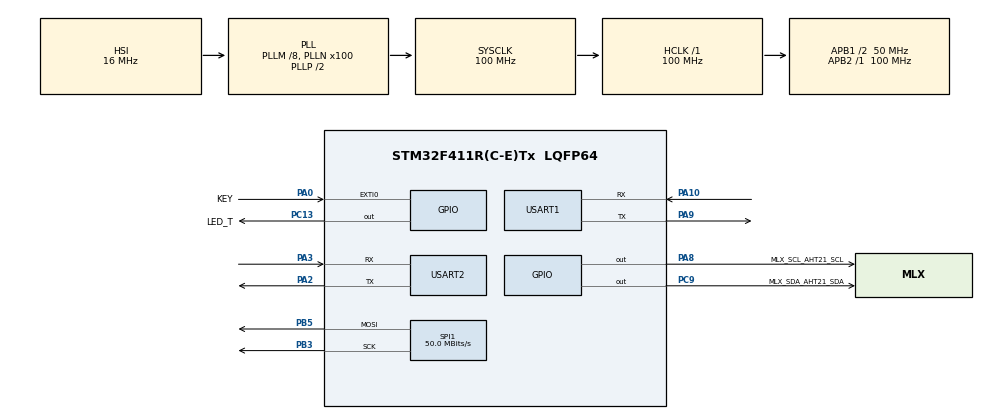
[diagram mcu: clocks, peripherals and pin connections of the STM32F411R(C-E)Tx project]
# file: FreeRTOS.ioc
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Dma.Request0=SPI1_TX
Dma.SPI1_TX.0.Direction=DMA_MEMORY_TO_PERIPH
Dma.SPI1_TX.0.FIFOMode=DMA_FIFOMODE_DISABLE
Dma.SPI1_TX.0.Instance=DMA2_Stream2
Dma.SPI1_TX.0.MemDataAlignment=DMA_MDATAALIGN_BYTE
Dma.SPI1_TX.0.MemInc=DMA_MINC_ENABLE
Dma.SPI1_TX.0.Mode=DMA_NORMAL
Dma.SPI1_TX.0.PeriphDataAlignment=DMA_PDATAALIGN_BYTE
Dma.SPI1_TX.0.PeriphInc=DMA_PINC_DISABLE
Dma.SPI1_TX.0.Priority=DMA_PRIORITY_LOW
FREERTOS.Tasks01=defaultTask,24,128,StartDefaultTask,Default,NULL,Dynamic,NULL,NULL
Mcu.Family=STM32F4
Mcu.Name=STM32F411R(C-E)Tx
Mcu.Package=LQFP64
NVIC.DMA2_Stream2_IRQn=true\:5\:0\:false\:false\:true\:true\:false\:true\:true
NVIC.EXTI0_IRQn=true\:5\:0\:false\:false\:true\:true\:true\:true\:true
NVIC.PriorityGroup=NVIC_PRIORITYGROUP_4
NVIC.TIM1_TRG_COM_TIM11_IRQn=true\:15\:0\:false\:false\:true\:false\:false\:true\:true
NVIC.TimeBase=TIM1_TRG_COM_TIM11_IRQn
NVIC.TimeBaseIP=TIM11
NVIC.USART1_IRQn=true\:5\:0\:false\:false\:true\:true\:true\:true\:true
NVIC.USART2_IRQn=true\:5\:0\:false\:false\:true\:true\:true\:true\:true
PA0-WKUP.GPIO_Label=KEY
PA0-WKUP.GPIO_PuPd=GPIO_PULLUP
PA0-WKUP.Signal=GPXTI0
PA10.Mode=Asynchronous
PA10.Signal=USART1_RX
PA2.Mode=Asynchronous
PA2.Signal=USART2_TX
PA3.Mode=Asynchronous
PA3.Signal=USART2_RX
PA8.GPIO_Label=MLX_SCL_AHT21_SCL
PA8.Signal=GPIO_Output
PC9.GPIO_Label=MLX_SDA_AHT21_SDA
PC9.Signal=GPIO_Output
PA13.Mode=Serial_Wire
PA13.Signal=SYS_JTMS-SWDIO
PA14.Mode=Serial_Wire
PA14.Signal=SYS_JTCK-SWCLK
PA9.Mode=Asynchronous
PA9.Signal=USART1_TX
PB3.Mode=TX_Only_Simplex_Unidirect_Master
PB3.Signal=SPI1_SCK
PB5.Mode=TX_Only_Simplex_Unidirect_Master
PB5.Signal=SPI1_MOSI
PC13-ANTI_TAMP.GPIO_Label=LED_T
PC13-ANTI_TAMP.Signal=GPIO_Output
PC14-OSC32_IN.Mode=LSE-External-Oscillator
PC14-OSC32_IN.Signal=RCC_OSC32_IN
PC15-OSC32_OUT.Mode=LSE-External-Oscillator
PC15-OSC32_OUT.Signal=RCC_OSC32_OUT
PH0\ -\ OSC_IN.Mode=HSE-External-Oscillator
PH0\ -\ OSC_IN.Signal=RCC_OSC_IN
PH1\ -\ OSC_OUT.Mode=HSE-External-Oscillator
PH1\ -\ OSC_OUT.Signal=RCC_OSC_OUT
ProjectManager.HeapSize=0x200
ProjectManager.StackSize=0x400
ProjectManager.TargetToolchain=MDK-ARM V5.32
RCC.48MHZClocksFreq_Value=50000000
RCC.AHBFreq_Value=100000000
RCC.APB1CLKDivider=RCC_HCLK_DIV2
RCC.APB1Freq_Value=50000000
RCC.APB1TimFreq_Value=100000000
RCC.APB2Freq_Value=100000000
RCC.APB2TimFreq_Value=100000000
RCC.CortexFreq_Value=100000000
RCC.HCLKFreq_Value=100000000
RCC.HSE_VALUE=25000000
RCC.HSI_VALUE=16000000
RCC.PLLM=8
RCC.PLLN=100
RCC.SYSCLKFreq_VALUE=100000000
RCC.SYSCLKSource=RCC_SYSCLKSOURCE_PLLCLK
RCC.VCOOutputFreq_Value=200000000
SPI1.CalculateBaudRate=50.0 MBits/s
SPI1.Direction=SPI_DIRECTION_2LINES
SPI1.Mode=SPI_MODE_MASTER
SPI1.VirtualType=VM_MASTER
USART1.VirtualMode=VM_ASYNC
USART2.VirtualMode=VM_ASYNC
VP_FREERTOS_VS_CMSIS_V2.Mode=CMSIS_V2
VP_SYS_VS_tim11.Mode=TIM11
board=custom

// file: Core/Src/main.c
/* USER CODE BEGIN Header */
/**
  ******************************************************************************
  * @file           : main.c
  * @brief          : Main program body
  ******************************************************************************
  * @attention
  *
  * Copyright (c) 2024 STMicroelectronics.
  * All rights reserved.
  *
  * This software is licensed under terms that can be found in the LICENSE file
  * in the root directory of this software component.
  * If no LICENSE file comes with this software, it is provided AS-IS.
  *
  ******************************************************************************
  */
/* USER CODE END Header */
#include "main.h"
#include "cmsis_os.h"
#include "dma.h"
#include "spi.h"
#include "usart.h"
#include "gpio.h"

/* USER CODE BEGIN Includes */
#include <string.h>
#include "delay.h"
#include "lcd.h"
#include "lcd_init.h"
#include "CST816.h"
#include "key.h"
#include "esp_link.h"
#include "lvgl.h"
/* USER CODE END Includes */

void SystemClock_Config(void);
void MX_FREERTOS_Init(void);

int main(void)
{

  /* MCU Configuration--------------------------------------------------------*/

  /* Reset of all peripherals, Initializes the Flash interface and the Systick. */
  HAL_Init();

  /* Configure the system clock */
  SystemClock_Config();

  /* Initialize all configured peripherals */
  MX_GPIO_Init();
  MX_DMA_Init();
  MX_USART1_UART_Init();
  MX_USART2_UART_Init();
  MX_SPI1_Init();
  ESP_Link_Init();

  /* Init scheduler */
  osKernelInitialize();  /* Call init function for freertos objects (in cmsis_os2.c) */
  MX_FREERTOS_Init();

  /* Start scheduler */
  osKernelStart();

  /* We should never get here as control is now taken by the scheduler */

  /* Infinite loop */
  while (1)
  {

  }
}

void SystemClock_Config(void)
{
  RCC_OscInitTypeDef RCC_OscInitStruct = {0};
  RCC_ClkInitTypeDef RCC_ClkInitStruct = {0};

  /** Configure the main internal regulator output voltage
  */
  __HAL_RCC_PWR_CLK_ENABLE();
  __HAL_PWR_VOLTAGESCALING_CONFIG(PWR_REGULATOR_VOLTAGE_SCALE1);

  /** Initializes the RCC Oscillators according to the specified parameters
  * in the RCC_OscInitTypeDef structure.
  */
  RCC_OscInitStruct.OscillatorType = RCC_OSCILLATORTYPE_HSI;
  RCC_OscInitStruct.HSIState = RCC_HSI_ON;
  RCC_OscInitStruct.HSICalibrationValue = RCC_HSICALIBRATION_DEFAULT;
  RCC_OscInitStruct.PLL.PLLState = RCC_PLL_ON;
  RCC_OscInitStruct.PLL.PLLSource = RCC_PLLSOURCE_HSI;
  RCC_OscInitStruct.PLL.PLLM = 8;
  RCC_OscInitStruct.PLL.PLLN = 100;
  RCC_OscInitStruct.PLL.PLLP = RCC_PLLP_DIV2;
  RCC_OscInitStruct.PLL.PLLQ = 4;
  if (HAL_RCC_OscConfig(&RCC_OscInitStruct) != HAL_OK)
  {
    Error_Handler();
  }

  /** Initializes the CPU, AHB and APB buses clocks
  */
  RCC_ClkInitStruct.ClockType = RCC_CLOCKTYPE_HCLK|RCC_CLOCKTYPE_SYSCLK
                              |RCC_CLOCKTYPE_PCLK1|RCC_CLOCKTYPE_PCLK2;
  RCC_ClkInitStruct.SYSCLKSource = RCC_SYSCLKSOURCE_PLLCLK;
  RCC_ClkInitStruct.AHBCLKDivider = RCC_SYSCLK_DIV1;
  RCC_ClkInitStruct.APB1CLKDivider = RCC_HCLK_DIV2;
  RCC_ClkInitStruct.APB2CLKDivider = RCC_HCLK_DIV1;

  if (HAL_RCC_ClockConfig(&RCC_ClkInitStruct, FLASH_LATENCY_3) != HAL_OK)
  {
    Error_Handler();
  }
}

void HAL_TIM_PeriodElapsedCallback(TIM_HandleTypeDef *htim)
{
  if (htim->Instance == TIM11)
  {
    HAL_IncTick();
  }
  /* USER CODE BEGIN Callback 1 */
  if (htim->Instance == TIM11) {
    lv_tick_inc(1);
  }
  /* USER CODE END Callback 1 */
}

void Error_Handler(void)
{
  __disable_irq();
  while (1)
  {
  }
}

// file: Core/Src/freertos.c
/* USER CODE BEGIN Header */
/**
  ******************************************************************************
  * File Name          : freertos.c
  * Description        : Code for freertos applications
  ******************************************************************************
  * @attention
  *
  * Copyright (c) 2026 STMicroelectronics.
  * All rights reserved.
  *
  * This software is licensed under terms that can be found in the LICENSE file
  * in the root directory of this software component.
  * If no LICENSE file comes with this software, it is provided AS-IS.
  *
  ******************************************************************************
  */
/* USER CODE END Header */

#include "FreeRTOS.h"
#include "task.h"
#include "main.h"
#include "cmsis_os.h"

/* USER CODE BEGIN Includes */
#include "user_TasksInit.h"
#include "user_LVGLTask.h"
/* USER CODE END Includes */

/* USER CODE BEGIN Variables */
// LED灯持续闪烁
osThreadId_t ledTaskHandle;
const osThreadAttr_t ledTask_attributes = {
  .name = "ledTask",
  .stack_size = 128 * 4,
  .priority = (osPriority_t) osPriorityNormal1,
};
// 持续打印log
osThreadId_t logTaskHandle;
const osThreadAttr_t logTask_attributes = {
  .name = "logTask",
  .stack_size = 128 * 4,
  .priority = (osPriority_t) osPriorityNormal2,
};

/* USER CODE END Variables */
/* Definitions for defaultTask */
osThreadId_t defaultTaskHandle;
const osThreadAttr_t defaultTask_attributes = {
  .name = "defaultTask",
  .stack_size = 128 * 4,
  .priority = (osPriority_t) osPriorityNormal,
};

/* USER CODE BEGIN FunctionPrototypes */
// LED灯持续闪烁
void ledTask(void *argument)
{
  /* USER CODE BEGIN ledTask */
  /* Infinite loop */
  for(;;)
  {
    HAL_GPIO_TogglePin(GPIOC, GPIO_PIN_13);
    osDelay(50);
  }
  /* USER CODE END ledTask */
}
// 持续打印log
#include "stdio.h"
void logTask(void *argument)
{
  /* USER CODE BEGIN logTask */
  /* Infinite loop */
  for(;;)
  {
    printf("logTask!\n");
    osDelay(1000);
  }
  /* USER CODE END logTask */
}
/* USER CODE END FunctionPrototypes */

void StartDefaultTask(void *argument);

void MX_FREERTOS_Init(void); /* (MISRA C 2004 rule 8.1) */

void MX_FREERTOS_Init(void) {
  /* USER CODE BEGIN Init */
  User_Tasks_Init();
  /* USER CODE END Init */

  /* Create the thread(s) */
  /* creation of defaultTask */
  defaultTaskHandle = osThreadNew(StartDefaultTask, NULL, &defaultTask_attributes);

  /* USER CODE BEGIN RTOS_THREADS */
  /* add threads, ... */
  // 创建LED任务
  ledTaskHandle = osThreadNew(ledTask, NULL, &ledTask_attributes);
  // 创建log任务
  logTaskHandle = osThreadNew(logTask, NULL, &logTask_attributes);
  /* USER CODE END RTOS_THREADS */

}

void StartDefaultTask(void *argument)
{
  for(;;)
  {
    osDelay(1);
  }
}

/* USER CODE BEGIN Application */
void vApplicationTickHook( void )
{
   /* This function will be called by each tick interrupt if
   configUSE_TICK_HOOK is set to 1 in FreeRTOSConfig.h. User code can be
   added here, but the tick hook is called from an interrupt context, so
   code must not attempt to block, and only the interrupt safe FreeRTOS API
   functions can be used (those that end in FromISR()). */
	TaskTickHook();
}
/* USER CODE END Application */
